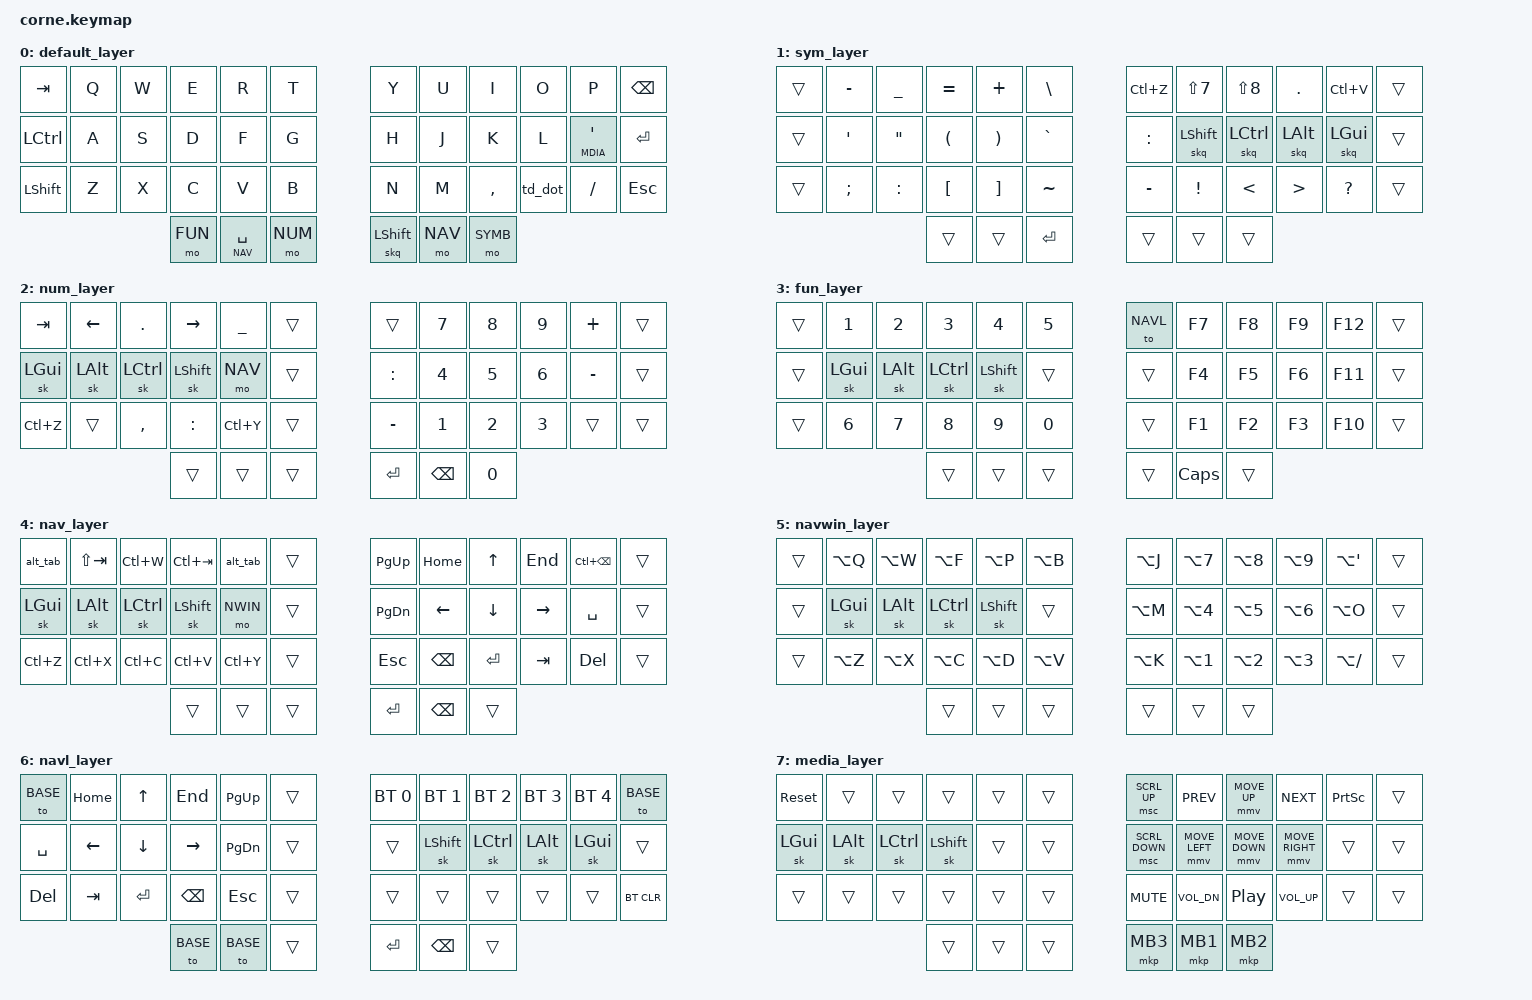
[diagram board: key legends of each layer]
/*
 * Copyright (c) 2020 The ZMK Contributors
 * SPDX-License-Identifier: MIT
 */

#include <behaviors.dtsi>
#include <dt-bindings/zmk/keys.h>
#include <dt-bindings/zmk/bt.h>
#include <dt-bindings/zmk/mouse.h>

/* Định nghĩa tên các Layer */
#define BASE 0
#define SYMB 1
#define NUM  2
#define FUN  3
#define NAV  4
#define NWIN 5
#define NAVL 6
#define MDIA 7

/* Macro giả lập Alt-Tab (Swapper trong QMK) */
/ {
    macros {
        alt_tab: alt_tab {
            compatible = "zmk,behavior-macro";
            #binding-cells = <0>;
            bindings
                = <&macro_press &kp LALT>
                , <&macro_tap &kp TAB>
                , <&macro_release &kp LALT>;
        };
    };

    behaviors {
        /* Sticky Key (One Shot) với thời gian chờ ngắn */
        skq: sticky_key_quick {
            compatible = "zmk,behavior-sticky-key";
            #binding-cells = <1>;
            bindings = <&kp>;
            release-after-ms = <1000>;
            quick-release;
            ignore-modifiers;
        };
        
        /* Layer Tap cho phím O/Media: Giữ > 200ms là vào lớp Media, nhấn nhanh là O */
        lt_media: layer_tap_media {
            compatible = "zmk,behavior-hold-tap";
            #binding-cells = <2>;
            flavor = "tap-preferred";
            tapping-term-ms = <200>;
            quick-tap-ms = <125>;
            bindings = <&mo>, <&kp>;
        };
/* TAP DANCE: Nhấn 1 lần ra dấu CHẤM, nhấn 2 lần ra dấu HAI CHẤM */
        td_dot: tap_dance_dot {
            compatible = "zmk,behavior-tap-dance";
            #binding-cells = <0>;
            tapping-term-ms = <200>;    /* Thời gian chờ gõ lần 2 (200ms) */
            bindings = <&kp DOT>, <&kp COLON>;
        };
    };

    /* COMBOS */
    combos {
        compatible = "zmk,combos";
        
        /* N + E + I -> Ctrl */
        combo_nei_ctrl {
            timeout-ms = <50>;
            key-positions = <19 20 21>;
            bindings = <&skq LCTRL>;
        };
        
        /* , + . -> ; */
        combo_commadot {
            timeout-ms = <50>;
            key-positions = <32 33>;
            bindings = <&kp SEMI>;
        };

        /* H + , -> - */
        combo_hcomma {
            timeout-ms = <50>;
            key-positions = <31 32>;
            bindings = <&kp MINUS>;
        };

        /* X + D -> Ctrl */
        combo_xd_ctrl {
            timeout-ms = <50>;
            key-positions = <26 28>;
            bindings = <&skq LCTRL>;
        };
        
        /* Z + D -> Tab */
        combo_zd_tab {
            timeout-ms = <50>;
            key-positions = <25 28>;
            bindings = <&kp TAB>;
        };
    };

    keymap {
        compatible = "zmk,keymap";

        /* LAYER 0: BASE (Colemak-DH) */
        default_layer {
            // -----------------------------------------------------------------------------------------
            // |  TAB |  Q  |  W  |  F  |  P  |  B  |   |  J  |  L  |  U  |  Y  |  '  | BKSP |
            // | CTRL |  A  |  R  |  S  |  T  |  G  |   |  M  |  N  |  E  |  I  |  O  |  '  |
            // | SHFT |  Z  |  X  |  C  |  D  |  V  |   |  K  |  H  |  ,  |  .  |  /  | ESC  |
            //                    | FUN | NAV | NUM |   | SFT | NAV | SYM |
            bindings = <
&kp TAB    &kp Q      &kp W      &kp E      &kp R          &kp T           &kp Y       &kp U          &kp I      &kp O      &kp P    &kp BSPC
&kp LCTRL  &kp A      &kp S      &kp D      &kp F          &kp G           &kp H       &kp J          &kp K      &kp L      &lt_media MDIA SQT   &kp RET
&kp LSHFT  &kp Z      &kp X      &kp C      &kp V          &kp B           &kp N       &kp M          &kp COMMA  &td_dot    &kp FSLH   &kp ESC
                                 &mo FUN    &lt NAV SPACE  &mo NUM         &skq LSHFT  &mo NAV        &mo SYMB
            >;
        };

        /* LAYER 1: SYMBOLS */
        sym_layer {
            // -----------------------------------------------------------------------------------------
            // | TRANS|  -  |  _  |  =  |  +  |  \  |   | C_Z | S_7 | S_8 |  .  | C_V | TRANS|
            // | TRANS|  '  |  "  |  (  |  )  |  `  |   |  :  | SFT | CTL | ALT | GUI | TRANS|
            // | TRANS|  ;  |  :  |  [  |  ]  |  ~  |   |  -  |  !  |  <  |  >  |  ?  | TRANS|
            //                    | TRANS|TRANS| RET |   | TRANS|TRANS|TRANS|
            bindings = <
&trans     &kp MINUS  &kp UNDER  &kp EQUAL  &kp PLUS       &kp BSLH        &kp LC(Z)   &kp LS(N7)     &kp LS(N8) &kp DOT    &kp LC(V)  &trans
&trans     &kp SQT    &kp DQT    &kp LPAR   &kp RPAR       &kp GRAVE       &kp COLON   &skq LSHFT     &skq LCTRL &skq LALT  &skq LGUI  &trans
&trans     &kp SEMI   &kp COLON  &kp LBKT   &kp RBKT       &kp TILDE       &kp MINUS   &kp EXCL       &kp LT     &kp GT     &kp QMARK  &trans
                                 &trans     &trans         &kp RET         &trans      &trans         &trans
            >;
        };

        /* LAYER 2: NUM (Numpad bên phải) */
        num_layer {
            // -----------------------------------------------------------------------------------------
            // |  TAB | LFT |  .  | RGT |  _  | TRANS|   |TRANS|  7  |  8  |  9  |  +  | TRANS|
            // | GUI  | ALT | CTRL| SHFT| NAV | TRANS|   |  :  |  4  |  5  |  6  |  -  | TRANS|
            // | C_Z  | TRANS|  ,  |  :  | C_Y | TRANS|   |  -  |  1  |  2  |  3  |TRANS| TRANS|
            //                    | TRANS|TRANS|TRANS|   | RET | BKSP|  0  |
            bindings = <
&kp TAB    &kp LEFT   &kp DOT    &kp RIGHT  &kp UNDER      &trans          &trans      &kp N7         &kp N8     &kp N9     &kp PLUS   &trans
&sk LGUI   &sk LALT   &sk LCTRL  &sk LSHFT  &mo NAV        &trans          &kp COLON   &kp N4         &kp N5     &kp N6     &kp MINUS  &trans
&kp LC(Z)  &trans     &kp COMMA  &kp COLON  &kp LC(Y)      &trans          &kp MINUS   &kp N1         &kp N2     &kp N3     &trans     &trans
                                 &trans     &trans         &trans          &kp RET     &kp BSPC       &kp N0
            >;
        };

        /* LAYER 3: FUN (F-Keys) */
        fun_layer {
            // -----------------------------------------------------------------------------------------
            // | TRANS|  1  |  2  |  3  |  4  |  5  |   |T_NVL|  F7 |  F8 |  F9 | F12 | TRANS|
            // | TRANS| GUI | ALT | CTRL| SHFT|TRANS|   |TRANS|  F4 |  F5 |  F6 | F11 | TRANS|
            // | TRANS|  6  |  7  |  8  |  9  |  0  |   |TRANS|  F1 |  F2 |  F3 | F10 | TRANS|
            //                    | TRANS|TRANS|TRANS|   |TRANS| CAPS|TRANS|
            bindings = <
&trans     &kp N1     &kp N2     &kp N3     &kp N4         &kp N5          &to NAVL    &kp F7         &kp F8     &kp F9     &kp F12    &trans
&trans     &sk LGUI   &sk LALT   &sk LCTRL  &sk LSHFT      &trans          &trans      &kp F4         &kp F5     &kp F6     &kp F11    &trans
&trans     &kp N6     &kp N7     &kp N8     &kp N9         &kp N0          &trans      &kp F1         &kp F2     &kp F3     &kp F10    &trans
                                 &trans     &trans         &trans          &trans      &kp CAPS       &trans
            >;
        };

        /* LAYER 4: NAV (Điều hướng & Thao tác) */
        nav_layer {
            // -----------------------------------------------------------------------------------------
            // | A_TAB| S_TB| C_W | C_TB| A_TAB|TRANS|   | PGUP| HOME|  UP | END |C_BSP| TRANS|
            // | GUI  | ALT | CTRL| SHFT| NWIN|TRANS|   | PGDN| LFT | DWN | RGT | SPC | TRANS|
            // | C_Z  | C_X | C_C | C_V | C_Y |TRANS|   | ESC | BKSP| RET | TAB | DEL | TRANS|
            //                    | TRANS|TRANS|TRANS|   | RET | BKSP|TRANS|
            bindings = <
&alt_tab   &kp LS(TAB) &kp LC(W)  &kp LC(TAB) &alt_tab      &trans          &kp PG_UP   &kp HOME       &kp UP     &kp END    &kp LC(BSPC) &trans
&sk LGUI   &sk LALT    &sk LCTRL  &sk LSHFT   &mo NWIN      &trans          &kp PG_DN   &kp LEFT       &kp DOWN   &kp RIGHT  &kp SPACE    &trans
&kp LC(Z)  &kp LC(X)   &kp LC(C)  &kp LC(V)   &kp LC(Y)     &trans          &kp ESC     &kp BSPC       &kp RET    &kp TAB    &kp DEL      &trans
                                  &trans      &trans        &trans          &kp RET     &kp BSPC       &trans
            >;
        };

        /* LAYER 5: NAV WIN (Alt + Phím) */
        navwin_layer {
            // -----------------------------------------------------------------------------------------
            // | TRANS| A_Q | A_W | A_F | A_P | A_B |   | A_J | A_7 | A_8 | A_9 | A_' | TRANS|
            // | TRANS| GUI | ALT | CTRL| SHFT|TRANS|   | A_M | A_4 | A_5 | A_6 | A_O | TRANS|
            // | TRANS| A_Z | A_X | A_C | A_D | A_V |   | A_K | A_1 | A_2 | A_3 | A_/ | TRANS|
            //                    | TRANS|TRANS|TRANS|   |TRANS|TRANS|TRANS|
            bindings = <
&trans     &kp LA(Q)  &kp LA(W)  &kp LA(F)  &kp LA(P)      &kp LA(B)       &kp LA(J)   &kp LA(N7)     &kp LA(N8) &kp LA(N9) &kp LA(SQT)  &trans
&trans     &sk LGUI   &sk LALT   &sk LCTRL  &sk LSHFT      &trans          &kp LA(M)   &kp LA(N4)     &kp LA(N5) &kp LA(N6) &kp LA(O)    &trans
&trans     &kp LA(Z)  &kp LA(X)  &kp LA(C)  &kp LA(D)      &kp LA(V)       &kp LA(K)   &kp LA(N1)     &kp LA(N2) &kp LA(N3) &kp LA(FSLH) &trans
                                 &trans     &trans         &trans          &trans      &trans         &trans
            >;
        };

        /* LAYER 6: NAV LEFT (Mũi tên tay trái) */
        navl_layer {
            // -----------------------------------------------------------------------------------------
            // | TO_0 | HOME|  UP | END | PGUP|TRANS|   |BT1 | BT2 | BT3 | BT4 | BT5| TO_0 |
            // | SPC  | LFT | DWN | RGT | PGDN|TRANS|   |TRANS| SHFT| CTRL| ALT | GUI | TRANS|
            // | DEL  | TAB | RET | BKSP| ESC |TRANS|   |TRANS|TRANS|TRANS|TRANS|TRANS| BT_CLR|
            //                    | TO_0 | TO_0|TRANS|   | RET | BKSP|TRANS|
            bindings = <
&to BASE   &kp HOME   &kp UP     &kp END    &kp PG_UP      &trans          &bt BT_SEL 0     &bt BT_SEL 1    &bt BT_SEL 2     &bt BT_SEL 3     &bt BT_SEL 4     &to BASE
&kp SPACE  &kp LEFT   &kp DOWN   &kp RIGHT  &kp PG_DN      &trans          &trans      &sk LSHFT      &sk LCTRL  &sk LALT   &sk LGUI   &trans
&kp DEL    &kp TAB    &kp RET    &kp BSPC   &kp ESC        &trans          &trans      &trans         &trans     &trans     &trans     &bt BT_CLR
                                 &to BASE   &to BASE       &trans          &kp RET     &kp BSPC       &trans
            >;
        };

        /* LAYER 7: MEDIA & MOUSE */
        media_layer {
            // -----------------------------------------------------------------------------------------
            // | RESET|TRANS|TRANS|TRANS|TRANS|TRANS|   | SC_U| PREV| MV_U| NEXT| PSCR| TRANS|
            // | GUI  | ALT | CTRL| SHFT|TRANS|TRANS|   | SC_D| MV_L| MV_D| MV_R|TRANS| TRANS|
            // | TRANS|TRANS|TRANS|TRANS|TRANS|TRANS|   | MUTE| V_DN| PP  | V_UP|TRANS| TRANS|
            //                    | TRANS|TRANS|TRANS|   | MB3 | MB1 | MB2 |
            bindings = <
&sys_reset &trans     &trans     &trans     &trans         &trans          &msc SCRL_UP   &kp C_PREV  &mmv MOVE_UP    &kp C_NEXT &kp PSCRN &trans
&sk LGUI   &sk LALT   &sk LCTRL  &sk LSHFT  &trans         &trans          &msc SCRL_DOWN &mmv MOVE_LEFT &mmv MOVE_DOWN &mmv MOVE_RIGHT &trans &trans
&trans     &trans     &trans     &trans     &trans         &trans          &kp C_MUTE     &kp C_VOL_DN   &kp C_PP       &kp C_VOL_UP    &trans &trans
                                 &trans     &trans         &trans          &mkp MB3       &mkp MB1       &mkp MB2
            >;
        };
    };
};
